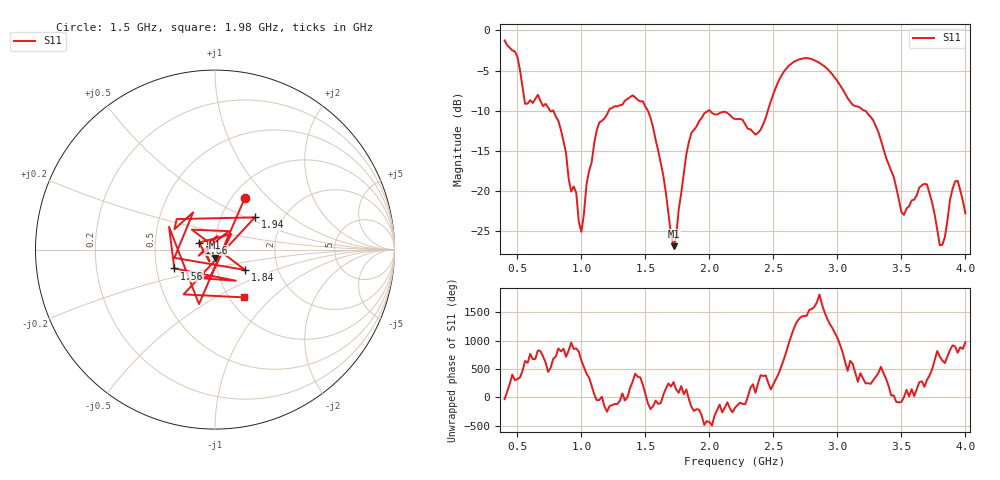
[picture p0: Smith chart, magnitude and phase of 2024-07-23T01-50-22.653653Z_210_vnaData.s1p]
!Created with skrf (http://scikit-rf.org).
# Hz S RI R 50.0
!freq ReS11 ImS11
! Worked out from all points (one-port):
!   181 points, 400 MHz to 4 GHz, reference 50 ohm
!   lowest |S11| = -26.8 dB at 1.72 GHz (marker M1), VSWR 1.10, Z = 49.8 - j4.54 ohm
!   |S11| at or under -10 dB: 1.52 GHz to 1.991 GHz (470.8 MHz wide, 26.8 % of centre); 2.005 GHz to 2.456 GHz (451.5 MHz wide, 20.2 % of centre); 3.218 GHz to end of sweep (the widest 3 of 5)
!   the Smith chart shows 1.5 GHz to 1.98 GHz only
!   S11 on the Smith chart (normalised r, x): 1.5 GHz: 1.14, +0.75; 1.56 GHz: 0.62, -0.14; 1.66 GHz: 0.83, +0.07; 1.84 GHz: 1.36, -0.32; 1.94 GHz: 1.44, +0.56; 1.98 GHz: 1.17, -0.69
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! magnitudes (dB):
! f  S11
! 400 MHz  -1.2
! 500 MHz  -3.3
! 560 MHz  -9.1
! 660 MHz  -8.0
! 860 MHz  -13.8
! 1 GHz  -25.1
! 1.12 GHz  -12.4
! 1.3 GHz  -9.3
! 1.5 GHz  -9.5
! 1.56 GHz  -12.0
! 1.66 GHz  -20.2
! 1.72 GHz  -26.8
! 1.76 GHz  -22.3
! 1.84 GHz  -13.9
! 1.94 GHz  -10.9
! 1.98 GHz  -10.1
! 2.2 GHz  -11.0
! 2.38 GHz  -12.7
! 2.66 GHz  -3.9
! 2.9 GHz  -4.5
! 3.1 GHz  -8.9
! 3.28 GHz  -11.2
! 3.5 GHz  -22.6
! 3.56 GHz  -21.9
! 3.7 GHz  -19.2
! 3.8 GHz  -26.7
! 3.92 GHz  -18.8
! 4 GHz  -22.8
